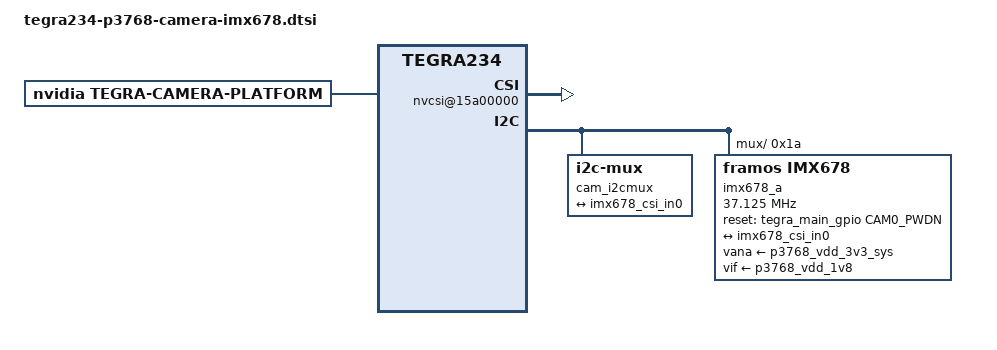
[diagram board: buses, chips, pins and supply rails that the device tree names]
/*
 * Device tree for IMX678 camera sensor on A603 carrier board (15-pin CSI).
 *
 * Single camera, 2-lane MIPI CSI-2, connected via FRAMOS FPA-A/P22 adapter
 * and 22-to-15 pin adapter cable to A603 CSI0 connector.
 *
 * Copyright (c) 2024, Sighthound Inc.  All rights reserved.
 *
 * Derived from ConnectTech tegra234-orin-nx-cti-NGX024-FSM-IMX678-base.dtsi
 * and tegra234-cti-fsm-imx678-modes-header.dtsi.
 *
 * This program is free software; you can redistribute it and/or modify
 * it under the terms of the GNU General Public License as published by
 * the Free Software Foundation; either version 2 of the License, or
 * (at your option) any later version.
 */

#include <dt-bindings/media/camera.h>
#include "dt-bindings/gpio/tegra234-gpio.h"
#include "dt-bindings/clock/tegra234-clock.h"

/* CAM0_PWDN on the A603 15-pin CSI connector
 * Maps to FPA-A/P22 IS_RST_IN (pin 17) via the 22-to-15 pin adapter cable.
 * On the Orin Nano devkit/A603 carrier, this is GPIO H6.
 */
#define CAM0_PWDN	TEGRA234_MAIN_GPIO(H, 6)

/ {
	tegra-capture-vi {
		num-channels = <1>;
		status = "okay";
		ports {
			#address-cells = <1>;
			#size-cells = <0>;
			/*
			 * Delete the base IMX219 DTSI's second VI port. The
			 * num-channels override to <1> does not remove child
			 * nodes, so port@1 (serial_c/port-index 2) survives
			 * the merge and causes the RTCPU to allocate a second
			 * VI channel that conflicts with our IMX678 capture.
			 */
			/delete-node/ port@1;
			port@0 {
				status = "okay";
				reg = <0>;
				imx678_vi_in0: endpoint {
					status = "okay";
					vc-id = <0>;
					port-index = <1>;
					bus-width = <2>;
					remote-endpoint = <&imx678_csi_out0>;
				};
			};
		};
	};

	host1x@13e00000 {
		nvcsi@15a00000 {
			num-channels = <1>;
			#address-cells = <1>;
			#size-cells = <0>;
			status = "okay";
			/* Delete dangling NVCSI channel@1 from base IMX219 DTSI */
			/delete-node/ channel@1;
			channel@0 {
				status = "okay";
				reg = <0>;
				ports {
					#address-cells = <1>;
					#size-cells = <0>;
					status = "okay";
					port@0 {
						status = "okay";
						reg = <0>;
						imx678_csi_in0: endpoint@0 {
							status = "okay";
							port-index = <1>;
							bus-width = <2>;
							remote-endpoint = <&imx678_out0>;
						};
					};
					port@1 {
						status = "okay";
						reg = <1>;
						imx678_csi_out0: endpoint@1 {
							status = "okay";
							remote-endpoint = <&imx678_vi_in0>;
						};
					};
				};
			};
		};
	};

	/*
	 * Enable proper GPIO request/direction/set handling in the FRAMOS
	 * driver.  Without this, fm_gpio_set() uses gpio_set_value_cansleep()
	 * which silently fails because the pin is never configured as output.
	 */
	framos_platform_adapter {
		cam,use-cam-gpio;
	};

	/*
	 * The base P3768 DTS inherits a cam_i2cmux (i2c-mux-gpio) on the
	 * camera I2C bus.  Even though the A603 has no physical mux chip,
	 * the mux driver still intercepts the bus and the sensor is only
	 * reachable through mux channel 0 (Linux I2C bus 9).
	 */
	cam_i2cmux {
		i2c@0 {
			/*
			 * Disable the base-DTS IMX219 node.  Even though the sensor is
			 * not physically present, its tegra-camera-platform module
			 * entry targets serial_b/stream-1 and causes RTCPU VI channel
			 * conflicts with our IMX678.
			 */
			rbpcv2_imx219_a@10 {
				status = "disabled";
			};
			imx678_a@1a {
			compatible = "framos,imx678";
			reg = <0x1a>;
			devnode = "video0";

			/* Clock */
			clocks = <&bpmp_clks TEGRA234_CLK_EXTPERIPH1>,
				 <&bpmp_clks TEGRA234_CLK_EXTPERIPH1>;
			clock-names = "extperiph1", "pllp_grtba";
			mclk = "extperiph1";
			clock-frequency = <37125000>;

			/* Power / regulators */
			vana-supply = <&p3768_vdd_3v3_sys>;
			vif-supply = <&p3768_vdd_1v8>;
			avdd-reg = "vana";
			iovdd-reg = "vif";

			/* GPIO - reset via CAM0_PWDN */
			reset-gpios = <&tegra_main_gpio CAM0_PWDN GPIO_ACTIVE_HIGH>;

			/* Sensor properties */
			physical_w = "20.00";
			physical_h = "16.80";
			sensor_model = "imx678";
			post_crop_frame_drop = "0";
			use_decibel_gain = "true";
			delayed_gain = "false";
			use_sensor_mode_id = "false";

			/*
			 * 2-lane sensor modes for A603 (15-pin CSI = 2 data lanes).
			 * Parameters from CTI tegra234-cti-fsm-imx678-modes-header.dtsi.
			 */

			/* Mode 0: 3856x2180 12-bit @ 30fps */
			mode0 {
				mclk_khz = "37125";
				num_lanes = "2";
				tegra_sinterface = "serial_b";
				phy_mode = "DPHY";
				discontinuous_clk = "no";
				dpcm_enable = "false";
				cil_settletime = "0";
				lane_polarity = "0";
				active_w = "3856";
				active_h = "2180";
				dynamic_pixel_bit_depth = "12";
				csi_pixel_bit_depth = "12";
				mode_type = "bayer";
				pixel_phase = "rggb";
				readout_orientation = "0";
				line_length = "6600";
				inherent_gain = "1";
				pix_clk_hz = "594000000";
				mipi_pixel_rate = "594000000";
				gain_factor = "10";
				min_gain_val = "0";
				max_gain_val = "720";
				step_gain_val = "3";
				default_gain = "0";
				min_hdr_ratio = "1";
				max_hdr_ratio = "64";
				framerate_factor = "1000000";
				min_framerate = "1500000";
				max_framerate = "30000000";
				step_framerate = "1";
				default_framerate = "30000000";
				exposure_factor = "1000000";
				min_exp_time = "27";
				max_exp_time = "660000";
				step_exp_time = "1";
				default_exp_time = "10000";
				embedded_metadata_height = "1";
			};

			/* Mode 1: 2608x1964 12-bit @ 33fps */
			mode1 {
				mclk_khz = "37125";
				num_lanes = "2";
				tegra_sinterface = "serial_b";
				phy_mode = "DPHY";
				discontinuous_clk = "no";
				dpcm_enable = "false";
				cil_settletime = "0";
				lane_polarity = "0";
				active_w = "2608";
				active_h = "1964";
				dynamic_pixel_bit_depth = "12";
				csi_pixel_bit_depth = "12";
				mode_type = "bayer";
				pixel_phase = "rggb";
				readout_orientation = "0";
				line_length = "6600";
				inherent_gain = "1";
				pix_clk_hz = "594000000";
				mipi_pixel_rate = "594000000";
				gain_factor = "10";
				min_gain_val = "0";
				max_gain_val = "720";
				step_gain_val = "3";
				default_gain = "0";
				min_hdr_ratio = "1";
				max_hdr_ratio = "64";
				framerate_factor = "1000000";
				min_framerate = "1500000";
				max_framerate = "33000000";
				step_framerate = "1";
				default_framerate = "33000000";
				exposure_factor = "1000000";
				min_exp_time = "27";
				max_exp_time = "660000";
				step_exp_time = "1";
				default_exp_time = "10000";
				embedded_metadata_height = "1";
			};

			/* Mode 2: 1920x1080 12-bit @ 59fps */
			mode2 {
				mclk_khz = "37125";
				num_lanes = "2";
				tegra_sinterface = "serial_b";
				phy_mode = "DPHY";
				discontinuous_clk = "no";
				dpcm_enable = "false";
				cil_settletime = "0";
				lane_polarity = "0";
				active_w = "1920";
				active_h = "1080";
				dynamic_pixel_bit_depth = "12";
				csi_pixel_bit_depth = "12";
				mode_type = "bayer";
				pixel_phase = "rggb";
				readout_orientation = "0";
				line_length = "6600";
				inherent_gain = "1";
				pix_clk_hz = "594000000";
				mipi_pixel_rate = "594000000";
				gain_factor = "10";
				min_gain_val = "0";
				max_gain_val = "720";
				step_gain_val = "3";
				default_gain = "0";
				min_hdr_ratio = "1";
				max_hdr_ratio = "64";
				framerate_factor = "1000000";
				min_framerate = "1500000";
				max_framerate = "59000000";
				step_framerate = "1";
				default_framerate = "59000000";
				exposure_factor = "1000000";
				min_exp_time = "27";
				max_exp_time = "660000";
				step_exp_time = "1";
				default_exp_time = "10000";
				embedded_metadata_height = "1";
			};

			/* Mode 3: 1928x1090 12-bit @ 30fps (binning) */
			mode3 {
				mclk_khz = "37125";
				num_lanes = "2";
				tegra_sinterface = "serial_b";
				phy_mode = "DPHY";
				discontinuous_clk = "no";
				dpcm_enable = "false";
				cil_settletime = "0";
				lane_polarity = "0";
				active_w = "1928";
				active_h = "1090";
				dynamic_pixel_bit_depth = "12";
				csi_pixel_bit_depth = "12";
				mode_type = "bayer";
				pixel_phase = "rggb";
				readout_orientation = "0";
				line_length = "6600";
				inherent_gain = "1";
				pix_clk_hz = "594000000";
				mipi_pixel_rate = "594000000";
				gain_factor = "10";
				min_gain_val = "0";
				max_gain_val = "720";
				step_gain_val = "3";
				default_gain = "0";
				min_hdr_ratio = "1";
				max_hdr_ratio = "64";
				framerate_factor = "1000000";
				min_framerate = "1500000";
				max_framerate = "30000000";
				step_framerate = "1";
				default_framerate = "30000000";
				exposure_factor = "1000000";
				min_exp_time = "27";
				max_exp_time = "660000";
				step_exp_time = "1";
				default_exp_time = "10000";
				embedded_metadata_height = "1";
			};

			/* Mode 4: 3856x2180 10-bit @ 30fps */
			mode4 {
				mclk_khz = "37125";
				num_lanes = "2";
				tegra_sinterface = "serial_b";
				phy_mode = "DPHY";
				discontinuous_clk = "no";
				dpcm_enable = "false";
				cil_settletime = "0";
				lane_polarity = "0";
				active_w = "3856";
				active_h = "2180";
				dynamic_pixel_bit_depth = "10";
				csi_pixel_bit_depth = "10";
				mode_type = "bayer";
				pixel_phase = "rggb";
				readout_orientation = "0";
				line_length = "6600";
				inherent_gain = "1";
				pix_clk_hz = "576000000";
				mipi_pixel_rate = "576000000";
				gain_factor = "10";
				min_gain_val = "0";
				max_gain_val = "720";
				step_gain_val = "3";
				default_gain = "0";
				min_hdr_ratio = "1";
				max_hdr_ratio = "64";
				framerate_factor = "1000000";
				min_framerate = "1500000";
				max_framerate = "30000000";
				step_framerate = "1";
				default_framerate = "30000000";
				exposure_factor = "1000000";
				min_exp_time = "27";
				max_exp_time = "660000";
				step_exp_time = "1";
				default_exp_time = "10000";
				embedded_metadata_height = "1";
			};

			/* Mode 5: 2608x1964 10-bit @ 33fps */
			mode5 {
				mclk_khz = "37125";
				num_lanes = "2";
				tegra_sinterface = "serial_b";
				phy_mode = "DPHY";
				discontinuous_clk = "no";
				dpcm_enable = "false";
				cil_settletime = "0";
				lane_polarity = "0";
				active_w = "2608";
				active_h = "1964";
				dynamic_pixel_bit_depth = "10";
				csi_pixel_bit_depth = "10";
				mode_type = "bayer";
				pixel_phase = "rggb";
				readout_orientation = "0";
				line_length = "6600";
				inherent_gain = "1";
				pix_clk_hz = "576000000";
				mipi_pixel_rate = "576000000";
				gain_factor = "10";
				min_gain_val = "0";
				max_gain_val = "720";
				step_gain_val = "3";
				default_gain = "0";
				min_hdr_ratio = "1";
				max_hdr_ratio = "64";
				framerate_factor = "1000000";
				min_framerate = "1500000";
				max_framerate = "33000000";
				step_framerate = "1";
				default_framerate = "33000000";
				exposure_factor = "1000000";
				min_exp_time = "27";
				max_exp_time = "660000";
				step_exp_time = "1";
				default_exp_time = "10000";
				embedded_metadata_height = "1";
			};

			/* Mode 6: 1920x1080 10-bit @ 59fps */
			mode6 {
				mclk_khz = "37125";
				num_lanes = "2";
				tegra_sinterface = "serial_b";
				phy_mode = "DPHY";
				discontinuous_clk = "no";
				dpcm_enable = "false";
				cil_settletime = "0";
				lane_polarity = "0";
				active_w = "1920";
				active_h = "1080";
				dynamic_pixel_bit_depth = "10";
				csi_pixel_bit_depth = "10";
				mode_type = "bayer";
				pixel_phase = "rggb";
				readout_orientation = "0";
				line_length = "6600";
				inherent_gain = "1";
				pix_clk_hz = "576000000";
				mipi_pixel_rate = "576000000";
				gain_factor = "10";
				min_gain_val = "0";
				max_gain_val = "720";
				step_gain_val = "3";
				default_gain = "0";
				min_hdr_ratio = "1";
				max_hdr_ratio = "64";
				framerate_factor = "1000000";
				min_framerate = "1500000";
				max_framerate = "59000000";
				step_framerate = "1";
				default_framerate = "59000000";
				exposure_factor = "1000000";
				min_exp_time = "27";
				max_exp_time = "660000";
				step_exp_time = "1";
				default_exp_time = "10000";
				embedded_metadata_height = "1";
			};

			ports {
				#address-cells = <1>;
				#size-cells = <0>;
				port@0 {
					reg = <0>;
					imx678_out0: endpoint {
						vc-id = <0>;
						port-index = <1>;
						bus-width = <2>;
						remote-endpoint = <&imx678_csi_in0>;
					};
				};
			};
			};
		};
		/* Disable second-slot camera nodes from the base DTS.
		 * Also delete their ports nodes to remove phandle references
		 * to rbpcv2_imx219_csi_in1 and rbpcv3_imx477_csi_in1 which
		 * live in NVCSI channel@1 (deleted below). Without removing
		 * these references DTC errors on phandle_references check. */
		i2c@1 {
			rbpcv2_imx219_c@10 {
				status = "disabled";
				/delete-node/ ports;
			};
			rbpcv3_imx477_c@1a {
				status = "disabled";
				/delete-node/ ports;
			};
		};
	};

	tegra-camera-platform {
		compatible = "nvidia, tegra-camera-platform";

		num_csi_lanes = <2>;
		max_lane_speed = <1782000>;
		min_bits_per_pixel = <10>;
		vi_peak_byte_per_pixel = <2>;
		vi_bw_margin_pct = <25>;
		max_pixel_rate = <594000>;
		isp_peak_byte_per_pixel = <5>;
		isp_bw_margin_pct = <25>;

		modules {
			/*
			 * Completely remove module1 from the base camera DTSIs.
			 * status="disabled" is ignored by tegra-capture-vi (it does
			 * not call of_device_is_available() on module nodes), so the
			 * driver still allocates a VI channel for module1 which claims
			 * stream-1/vc-0 and causes:
			 *   vi5_update_channel_match_data: already in use by channel 35
			 */
			/delete-node/ module1;
			module0 {
				badge = "imx678_front_a603";
				position = "front";
				orientation = "1";
				status = "okay";
				drivernode0 {
					status = "okay";
					pcl_id = "v4l2_sensor";
					devname = "imx678 9-001a";
					proc-device-tree = "/proc/device-tree/cam_i2cmux/i2c@0/imx678_a@1a";
				};
			};
		};
	};
};
